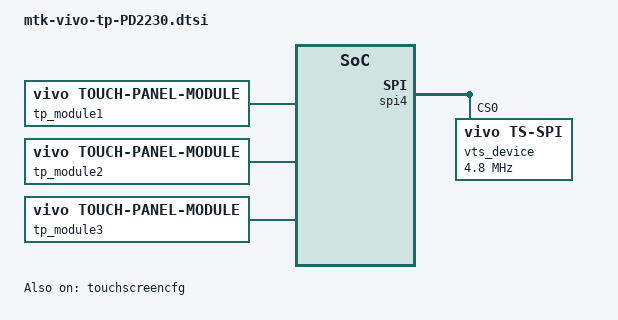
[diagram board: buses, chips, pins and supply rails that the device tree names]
&pio {
	pd2230_clk_spi_mode: clk_mode_default {
		pins_cmd_dat {
			pinmux = <PINMUX_GPIO97__FUNC_SPI4_CLK>;
			drive-strength = <1>;
		};
	};

	pd2230_mosi_spi_mode: mosi_mode_default {
		pins_cmd_dat {
			pinmux = <PINMUX_GPIO13__FUNC_SPI4_MO>;
			drive-strength = <1>;
		};
	};
	pd2230_cs_spi_mode: cs_mode_default {
		pins_cmd_dat {
			pinmux = <PINMUX_GPIO98__FUNC_SPI4_CSB>;
			drive-strength = <1>;
		};
	};
};

&spi4 {
	status = "okay";
	vts_device@0 {
		compatible = "vivo,ts-spi";
		status = "okay";
		reg=<0>;
		spi-max-frequency = <4800000>;
		pinctrl-names = "default";
		pinctrl-0 = <&pd2230_clk_spi_mode &pd2230_mosi_spi_mode &pd2230_cs_spi_mode>;

		chipone {
			compatible = "chipone,cts_nl9911c_spi";
			status = "ok";
			vts-type=<0>;
			vts-ic-number=<110>;
			spi-max-frequency = <9600000>;	//4800000,9600000,15000000,19200000
			chipone,rst-gpio = <&pio 186 0x00>;
			chipone,cs-gpio = <&pio 98 0x00>;
			chipone,miso-gpio = <&pio 12 0x00>;
			chipone,irq-gpio = <&pio 14 0x2001>;
			chipone,x-res = <720>;
			chipone,y-res = <1600>;
			
			sensor-test-key="com.chipone.touch.sensorcheck:MainActivity:android.intent.action.chipone:0:testResult";
			rawdata-test-key="com.chipone.touch.datashow:DataShowActivity:null:null:null";
			lcm-noise-test-key="com.chipone.touch.noise:NoiseActivity:null:null:null";
			rf-noise-test-key="com.chipone.touch.noise:BspTestActivity:action_noise_test:0:result";
		};
		
		ft8016 {
			compatible = "focaltech,ft8756_v2";
			vts-type=<0>;
			vts-ic-number=<37>;
			spi-max-frequency = <6000000>;	//4800000,9600000,15000000,19200000
			focaltech,reset-gpio = <&pio 186 0x00>;
			focaltech,irq-gpio = <&pio 14 0x02>;
			focaltech,max-touch-number = <10>;
			focaltech,display-coords = <0 0 720 1600>;
			focaltech,ic_name = "ft8016";
			focaltech,factory-reset = <1>;
			focaltech,diff-distinguish = <1>;
			sensor-test-key="com.focaltouchscreen.sensortest:MainActivity:com.focaltouchscreen.sensortest:0:focal_test_result";
			lcm-noise-test-key="com.focaltech.deltadiff:MainActivity:null:null:null";
			rawdata-test-key="com.focaltech.deltadiff:DataActivity:null:null:null";
			rf-noise-test-key="com.focaltech.deltadiff:BspTestActivity:com.focaltech.deltadiff:0:testResult";
		};
	};
};

&touchscreencfg {
	compatible = "vivo,touchscreen-config";
	vivo,ts-product-name="PD2230";
	status = "okay";
	
	tp_module1{
		compatible = "vivo,touch-panel-module";
		vts-ic-number=<110>;
		vts-type=<0>;
		vts-lcmid=<48>;// 0x30 INCL 9911  1211860
		vts-dimention-x=<720>;
		vts-dimention-y=<1600>;
		vts-tx-sensors=<18>;
		vts-rx-sensors=<32>;
		vts-incell=<1>;
		vts-need-caliberation=<0>;
		vts-virtual-proximinity=<0>;
		vts-long-press=<0>;
		vts-module-vendor=<0xF0>;
		vts-no-flash=<1>;
		//vts-sleep-time=<50>;
		vts-game-mode=<1>;
		vts-game-idle-time=<10>;
		vts-no-flash-unique-code=<1>;
		vts-set-card-region=<1>;
		vts-set-card-region-width = <200>;
		vts-gesture=<1>;
		vts-screenshot-triger=<1>;
		vts-debug-cust=<1>;
		vts-record=<0x20>;
	};
	tp_module2{
		compatible = "vivo,touch-panel-module";
		vts-ic-number=<110>;
		vts-type=<0>;
		vts-lcmid=<17>;// 0x11 INCL 9911  1211849
		vts-dimention-x=<720>;
		vts-dimention-y=<1600>;
		vts-tx-sensors=<18>;
		vts-rx-sensors=<32>;
		vts-incell=<1>;
		vts-need-caliberation=<0>;
		vts-virtual-proximinity=<0>;
		vts-long-press=<0>;
		vts-module-vendor=<0xF0>;
		vts-no-flash=<1>;
		//vts-sleep-time=<50>;
		vts-game-mode=<1>;
		vts-game-idle-time=<10>;
		vts-no-flash-unique-code=<1>;
		vts-set-card-region=<1>;
		vts-set-card-region-width = <200>;
		vts-gesture=<1>;
		vts-screenshot-triger=<1>;
		vts-debug-cust=<1>;
		vts-record=<0x20>;
	};
	tp_module3 {
		compatible = "vivo,touch-panel-module";
		vts-ic-number=<37>;
		vts-type=<0>;
		vts-lcmid=<145>;//FT8016 0x27
		vts-dimention-x=<720>;
		vts-dimention-y=<1600>;
		vts-tx-sensors=<18>;
		vts-rx-sensors=<32>;
		vts-incell=<1>;
		vts-need-caliberation=<0>;
		vts-virtual-proximinity=<0>;
		vts-long-press=<0>;
		vts-module-vendor=<0xF0>;
		vts-no-flash=<1>;
		vts-no-flash-unique-code=<1>;
		vts-gesture=<1>;
		vts-debug-cust=<1>;
	};
};

/ {
	fragment@touch {
		target-path = "/";
		__overlay__ {
			mobileevent {
				status = "okay";
				compatible = "vivo,mobile_event";
				vivo-i2c-event=<1>;
				vivo-channel-broken=<1>;
				vivo-click-event=<1>;
				vivo-unexpected-reset-event=<1>;
				vivo-log-system=<0>;
				vivo-prox-near=<0>;
				vivo-ng-panel-detect=<1>;
				vivo-ic-mode=<1>;
				vivo-int-cost=<1>;
				vivo-large-press-event=<1>;
				vivo-multi-touch=<1>;
				vivo-press-area=<1>;
				vivo-edge-reject-fail=<1>;
				vivo-resume-to-touch=<1>;
				vivo-handler-cost=<1>;
				vivo-five-more-touch=<1>;
				vivo-game-touch-info=<1>;
			};
		};
	};
};

